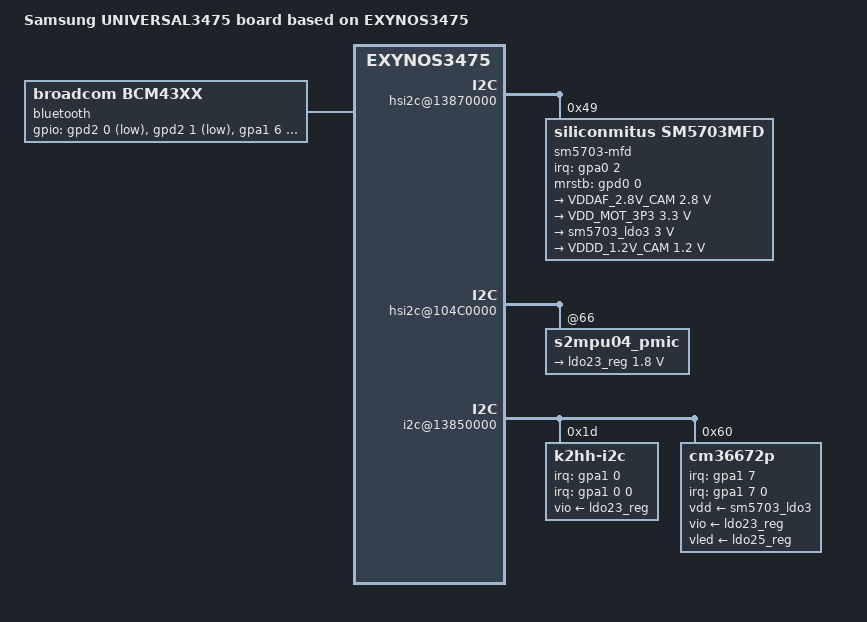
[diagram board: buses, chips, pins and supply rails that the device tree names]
/*
 * SAMSUNG EXYNOS3475 board device tree source
 *
 * Copyright (c) 2013 Samsung Electronics Co., Ltd.
 *		http://www.samsung.com
 *
 * This program is free software; you can redistribute it and/or modify
 * it under the terms of the GNU General Public License version 2 as
 * published by the Free Software Foundation.
*/

/dts-v1/;
#include "exynos3475-j2_common.dtsi"
#include "modem-ss308ap-pdata.dtsi"
#include "exynos3475-j2lte_battery.dtsi"
#include "exynos3475-j2lte_swa_open_gpio_02.dtsi"

/ {
	model = "Samsung UNIVERSAL3475 board based on EXYNOS3475";
	model_info-chip = <3475>;
	model_info-platform = "android";
	model_info-subtype = "samsung";
	model_info-hw_rev = <2>;
	model_info-hw_rev_end = <2>;
	compatible = "samsung,UNIVERSAL3475", "samsung,exynos3475";

	hsi2c@13870000 {
		status = "okay";
		sm5703-mfd@49 {
			compatible = "siliconmitus,sm5703mfd";
			reg = <0x49>;
			pinctrl-names = "default";
			pinctrl-0 = <&chg_en &if_pmic_irq>;
			sm5703,irq-gpio = <&gpa0 2 0>;
			sm5703,mrstb-gpio = <&gpd0 0 0>;

			sm5703_ldo1 {
				compatible = "siliconmitus,sm5703-ldo1";
				regulator-name = "VDDAF_2.8V_CAM";  /* change name by yourself */
				regulator-min-microvolt = <2800000>;
				regulator-max-microvolt = <2800000>; /* max == min then apply_uV = 1 */
				/* regulator-microvolt-offset = < >; optional*/
				/* regulator-boot-on;*/ /* = "yes"; optional, exist = enabled */
				/* regulator-always-on;*/ /* = "yes"; optional, exist = enabled */
				/* regulator-ramp-delay = <100>; optional*/
			};

			sm5703_ldo2 {
				compatible = "siliconmitus,sm5703-ldo2";
				regulator-name = "VDD_MOT_3P3"; /* change name by yourself */
				regulator-min-microvolt = <3300000>;
				regulator-max-microvolt = <3300000>; /* max == min then apply_uV = 1 */
				/* regulator-microvolt-offset = < >; optional*/
				/*regulator-boot-on;*/  /* = "yes"; optional, exist = enabled */
				/*regulator-always-on;*/  /* = "yes"; optional, exist = enabled */
				/* regulator-ramp-delay = <100>; optional*/
			};

			sm5703_ldo3: sm5703_ldo3 {
				compatible = "siliconmitus,sm5703-ldo3";
				regulator-name = "VDD_3.0V_SENSOR"; /* change name by yourself */
				regulator-min-microvolt = <3000000>;
				regulator-max-microvolt = <3000000>; /* max == min then apply_uV = 1 */
				/* regulator-microvolt-offset = < >; optional*/
				/* regulator-boot-on =*/  /* "yes"; optional, exist = enabled */
				regulator-always-on;
			};

			sm5703_buck {
				compatible = "siliconmitus,sm5703-buck";
				regulator-name = "VDDD_1.2V_CAM"; /* change name by yourself */
				regulator-min-microvolt = <1200000>;
				regulator-max-microvolt = <1200000>; /* max == min then apply_uV = 1 */
				/* regulator-microvolt-offset = < >; optional*/
				/* regulator-boot-on = "yes"; optional, exist = enabled */
				/* regulator-always-on = "yes"; optional, exist = enabled */
				/* regulator-ramp-delay = <100>; optional*/
			};

			sm5703_fled {
				compatible = "siliconmitus,sm5703-fled";
				enable = <1 1>;
				flash_current = <1000>;
				preflash_current = <120>;
				movie_current = <180>;
				torch_current = <60>;
				factory_current = <240>;
				sm5703,led1-gpio = <&gpd2 3 0>;
				sm5703,led2-gpio = <&gpd0 7 0>;
				pinctrl-names = "fled_default","fled_sleep";
				pinctrl-0 = <&fled_flash_active>;
				pinctrl-1 = <&fled_flash_sleep>;
			};
		};
	};

	hsi2c@104C0000 {
		s2mpu04_pmic@66 {
			regulators {
				ldo23_reg: LDO23 {
					regulator-name = "vdd_ldo23";
					regulator-min-microvolt = <1800000>;
					regulator-max-microvolt = <1800000>;
					regulator-always-on;
					regulator-initial-mode = <3>;
				};
			};
		};
	};

	bluetooth {
		compatible = "broadcom,bcm43xx";
		gpios = <&gpd2 0 1	/*BT_EN*/
				&gpd2 1 1	/*BT_WAKE*/
				&gpa1 6 0xF	/*BT_HOST_WAKE*/ >;
		pinctrl-names = "default";
		pinctrl-0=<&bt_hostwake &bt_btwake &bt_reg_on>;
		status = "okay";
	};

	pinctrl@139B0000 {
		acc_int: acc_int {
			samsung,pins = "gpa1-0";
			samsung,pins-function = <0x0>;
			samsung,pin-pud = <0>;
			samsung,pin-drv = <0>;
		};
		prox_int: prox_int {
			samsung,pins = "gpa1-7";
			samsung,pins-function = <0x0>;
			samsung,pin-pud = <3>;
			samsung,pin-drv = <0>;
		};
	};

	i2c@13850000 {
		status = "okay";

		k2hh-i2c@1D {
			compatible = "k2hh-i2c";
			reg = <0x1D>;
			pinctrl-names = "default";
			pinctrl-0 = <&acc_int>;
			interrupt-parent = <&gpa1>;
			interrupts = <0 0 0>;
			k2hh,irq_gpio = <&gpa1 0 0>;
			k2hh,vio-supply = <&ldo23_reg>;
			k2hh,axis_map_x = <1>;
			k2hh,axis_map_y = <0>;
			k2hh,axis_map_z = <2>;
			k2hh,negate_x = <1>;
			k2hh,negate_y = <1>;
			k2hh,negate_z = <0>;
			k2hh,poll_interval = <100>;
			k2hh,min_interval = <2>;
		};

		cm36672p@60 {
			compatible = "cm36672p";
			reg = <0x60>;
			pinctrl-names = "default";
			pinctrl-0 = <&prox_int>;
			interrupt-parent = <&gpa1>;
			interrupts = <7 0 0>;
			cm36672p,vdd-supply = <&sm5703_ldo3>;
			cm36672p,vio-supply = <&ldo23_reg>;
			cm36672p,vled-supply = <&ldo25_reg>;
			cm36672p,irq_gpio = <&gpa1 7 0>;
			cm36672p,default_hi_thd = <17>;
			cm36672p,default_low_thd = <13>;
			cm36672p,cancel_hi_thd = <10>;
			cm36672p,cancel_low_thd = <7>;
			cm36672p,ps_it = <4>;
			cm36672p,led_current = <5>;
			cm36672p,default_trim = <0>;
		};
	};
};
